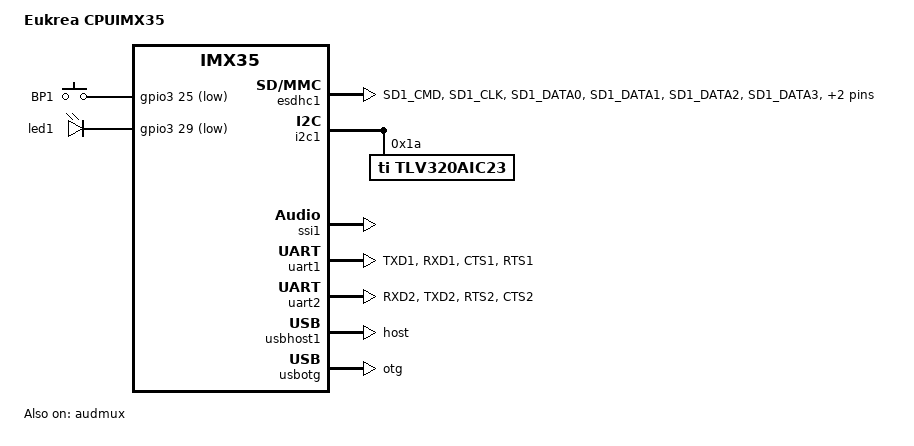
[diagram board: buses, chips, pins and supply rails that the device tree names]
/*
 * Copyright 2013 Eukréa Electromatique <denis@eukrea.com>
 *
 * This program is free software; you can redistribute it and/or
 * modify it under the terms of the GNU General Public License
 * as published by the Free Software Foundation; either version 2
 * of the License, or (at your option) any later version.
 * This program is distributed in the hope that it will be useful,
 * but WITHOUT ANY WARRANTY; without even the implied warranty of
 * MERCHANTABILITY or FITNESS FOR A PARTICULAR PURPOSE.  See the
 * GNU General Public License for more details.
 */

/dts-v1/;

#include <dt-bindings/gpio/gpio.h>
#include <dt-bindings/input/input.h>
#include "imx35-eukrea-cpuimx35.dtsi"

/ {
	model = "Eukrea CPUIMX35";
	compatible = "eukrea,mbimxsd35-baseboard", "eukrea,cpuimx35", "fsl,imx35";

	gpio_keys {
		compatible = "gpio-keys";
		pinctrl-names = "default";
		pinctrl-0 = <&pinctrl_bp1>;

		bp1 {
			label = "BP1";
			gpios = <&gpio3 25 GPIO_ACTIVE_LOW>;
			linux,code = <BTN_MISC>;
			wakeup-source;
			linux,input-type = <1>;
		};
	};

	leds {
		compatible = "gpio-leds";
		pinctrl-names = "default";
		pinctrl-0 = <&pinctrl_led1>;

		led1 {
			label = "led1";
			gpios = <&gpio3 29 GPIO_ACTIVE_LOW>;
			linux,default-trigger = "heartbeat";
		};
	};

	sound {
		compatible = "eukrea,asoc-tlv320";
		eukrea,model = "imx35-eukrea-tlv320aic23";
		ssi-controller = <&ssi1>;
		fsl,mux-int-port = <1>;
		fsl,mux-ext-port = <4>;
	};
};

&audmux {
	pinctrl-names = "default";
	pinctrl-0 = <&pinctrl_audmux>;
	status = "okay";
};

&esdhc1 {
	pinctrl-names = "default";
	pinctrl-0 = <&pinctrl_esdhc1>;
	cd-gpios = <&gpio3 24 GPIO_ACTIVE_LOW>;
	status = "okay";
};

&i2c1 {
	tlv320aic23: codec@1a {
		compatible = "ti,tlv320aic23";
		reg = <0x1a>;
	};
};

&iomuxc {
	imx35-eukrea {
		pinctrl_audmux: audmuxgrp {
			fsl,pins = <
				MX35_PAD_STXFS4__AUDMUX_AUD4_TXFS	0x80000000
				MX35_PAD_STXD4__AUDMUX_AUD4_TXD		0x80000000
				MX35_PAD_SRXD4__AUDMUX_AUD4_RXD		0x80000000
				MX35_PAD_SCK4__AUDMUX_AUD4_TXC		0x80000000
			>;
		};

		pinctrl_bp1: bp1grp {
			fsl,pins = <MX35_PAD_LD19__GPIO3_25  0x80000000>;
		};

		pinctrl_esdhc1: esdhc1grp {
			fsl,pins = <
				MX35_PAD_SD1_CMD__ESDHC1_CMD		0x80000000
				MX35_PAD_SD1_CLK__ESDHC1_CLK		0x80000000
				MX35_PAD_SD1_DATA0__ESDHC1_DAT0		0x80000000
				MX35_PAD_SD1_DATA1__ESDHC1_DAT1		0x80000000
				MX35_PAD_SD1_DATA2__ESDHC1_DAT2		0x80000000
				MX35_PAD_SD1_DATA3__ESDHC1_DAT3		0x80000000
				MX35_PAD_LD18__GPIO3_24			0x80000000 /* CD */
			>;
		};

		pinctrl_led1: led1grp {
			fsl,pins = <MX35_PAD_LD23__GPIO3_29  0x80000000>;
		};

		pinctrl_reg_lcd_3v3: reg-lcd-3v3 {
			fsl,pins = <MX35_PAD_D3_CLS__GPIO1_4 0x80000000>;
		};

		pinctrl_uart1: uart1grp {
			fsl,pins = <
				MX35_PAD_TXD1__UART1_TXD_MUX		0x1c5
				MX35_PAD_RXD1__UART1_RXD_MUX		0x1c5
				MX35_PAD_CTS1__UART1_CTS		0x1c5
				MX35_PAD_RTS1__UART1_RTS		0x1c5
			>;
		};

		pinctrl_uart2: uart2grp {
			fsl,pins = <
				MX35_PAD_RXD2__UART2_RXD_MUX		0x1c5
				MX35_PAD_TXD2__UART2_TXD_MUX		0x1c5
				MX35_PAD_RTS2__UART2_RTS		0x1c5
				MX35_PAD_CTS2__UART2_CTS		0x1c5
			>;
		};
	};
};

&ssi1 {
	codec-handle = <&tlv320aic23>;
	status = "okay";
};

&uart1 {
	pinctrl-names = "default";
	pinctrl-0 = <&pinctrl_uart1>;
	uart-has-rtscts;
	status = "okay";
};

&uart2 {
	pinctrl-names = "default";
	pinctrl-0 = <&pinctrl_uart2>;
	uart-has-rtscts;
	status = "okay";
};

&usbhost1 {
	phy_type = "serial";
	dr_mode = "host";
	status = "okay";
};

&usbotg {
	phy_type = "utmi";
	dr_mode = "otg";
	external-vbus-divider;
	status = "okay";
};
